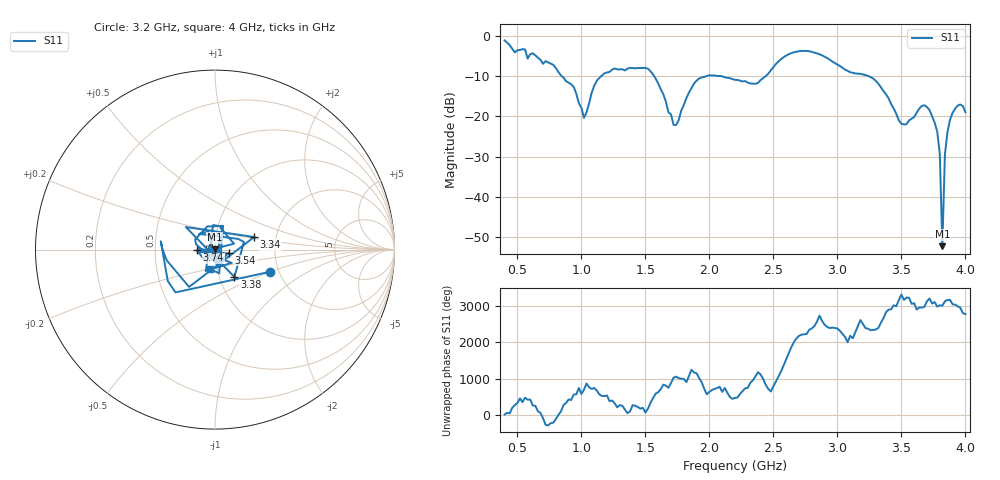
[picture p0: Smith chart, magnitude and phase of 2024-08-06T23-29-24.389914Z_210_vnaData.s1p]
!Created with skrf (http://scikit-rf.org).
# Hz S RI R 50.0
!freq ReS11 ImS11
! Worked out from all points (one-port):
!   181 points, 400 MHz to 4 GHz, reference 50 ohm
!   lowest |S11| = -52.2 dB at 3.82 GHz (marker M1), VSWR 1.00, Z = 49.9 + j0.203 ohm
!   |S11| at or under -10 dB: 1.567 GHz to 1.982 GHz (414.5 MHz wide, 23.4 % of centre); 2.081 GHz to 2.442 GHz (360.1 MHz wide, 15.9 % of centre); 3.24 GHz to end of sweep (the widest 3 of 5)
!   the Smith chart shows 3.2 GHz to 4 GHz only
!   S11 on the Smith chart (normalised r, x): 3.2 GHz: 1.79, -0.50; 3.34 GHz: 1.54, +0.23; 3.38 GHz: 1.18, -0.37; 3.54 GHz: 1.17, -0.04; 3.74 GHz: 0.82, -0.01; 4 GHz: 0.92, -0.20
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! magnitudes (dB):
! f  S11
! 400 MHz  -1.2
! 860 MHz  -10.4
! 940 MHz  -12.7
! 1.02 GHz  -20.4
! 1.12 GHz  -11.2
! 1.3 GHz  -8.4
! 1.52 GHz  -8.2
! 1.72 GHz  -22.1
! 1.76 GHz  -21.0
! 1.92 GHz  -10.6
! 2.2 GHz  -11.0
! 2.38 GHz  -11.7
! 2.66 GHz  -4.1
! 3.1 GHz  -9.1
! 3.2 GHz  -9.6
! 3.34 GHz  -12.8
! 3.38 GHz  -14.6
! 3.54 GHz  -22.0
! 3.56 GHz  -21.0
! 3.68 GHz  -17.3
! 3.74 GHz  -20.1
! 3.78 GHz  -23.8
! 3.8 GHz  -29.3
! 3.82 GHz  -52.2
! 3.84 GHz  -29.5
! 3.86 GHz  -23.9
! 3.94 GHz  -17.3
! 4 GHz  -19.0
